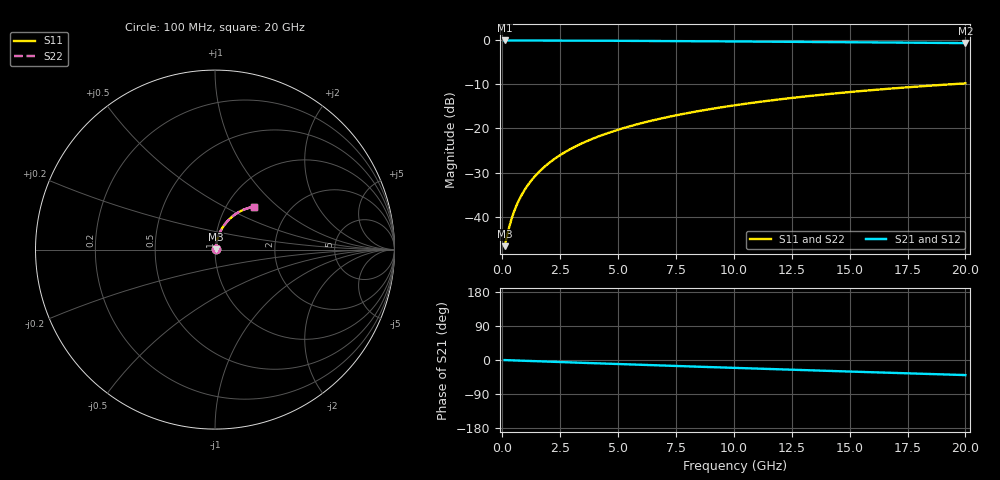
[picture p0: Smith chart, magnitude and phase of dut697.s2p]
! Touchstone file exported from HFSS 2026.1.0
!  File:  C:/ffzhzh/LocalFiles/Ansys_Project_Files/temp_train_TMRDL_697_1783010424_53980.aedt
!  Generated:  12:41:41 AM Jul  3, 2026
!  Design:  TMRDL
!  Project:  temp_train_TMRDL_697_1783010424_53980
! Variables:
!  h_bsmrdl = 2um
!  h_ox = 20um
!  h_rdl = 5um
!  h_sub = 80um
!  h_tmrdl = 5.43um
!  h_tsv = 80um
!  h_via = 3um
!  l_bsmrdl = 300um
!  l_sub = 1039.28um
!  l_tmrdl = 639.28um
!  m_sub = 200um
!  pitch = 25.46um
!  r_tsv = 6um
!  s_tmrdl = 10um
!  w_bsmrdl = 18um
!  w_sub = 500um
!  w_tmrdl = 10.26um
!  x_tsv_center1 = 644.41um
!  x_tsv_center2 = 962.41um
!  x_tsv_center3 = 1611.95um
!  x_tsv_center4 = 1929.95um
!  x_tsv_center5 = 2579.49um
!  x_tsv_center6 = 2897.49um
# GHz S MA R 50.000000
! Terminal data exported
! Port[1] = TM_RDL1_1_T1
! Port[2] = TM_RDL1_1_T2
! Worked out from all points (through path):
!   200 points, 100 MHz to 20 GHz, reference 50 ohm
!   highest |S21| = -0.04 dB at 100 MHz (marker M1); lowest = -0.6 dB at 20 GHz (marker M2)
!   group delay of S21, straight-line fit = 5.52 ps
!   lowest |S11| = -46.7 dB at 100 MHz (marker M3), VSWR 1.01, Z = 50.4 + j0.217 ohm
!   |S11| at or under -10 dB: start of sweep to 19.3 GHz
!   |S22| runs from -46.7 to -9.8 dB; largest |S21 - S12| = 2.6e-15
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0.1  0.004625 27.7  0.9959 -0.2  0.9959 -0.2  0.004625 27.7
! Gamma 0 0 0 0
! Port Impedance 50 0 50 0
0.3  0.007653 55.0  0.9957 -0.7  0.9957 -0.7  0.007653 55.0
0.4  0.009431 61.2  0.9955 -0.9  0.9955 -0.9  0.009431 61.2
0.5  0.01126 65.3  0.9954 -1.1  0.9954 -1.1  0.01126 65.3
0.6  0.01313 68.2  0.9953 -1.3  0.9953 -1.3  0.01313 68.2
0.7  0.01501 70.4  0.9953 -1.5  0.9953 -1.5  0.01501 70.4
0.9  0.01884 73.4  0.9951 -2.0  0.9951 -2.0  0.01884 73.4
1.2  0.02465 75.8  0.9948 -2.6  0.9948 -2.6  0.02465 75.8
1.4  0.02854 76.7  0.9945 -3.0  0.9945 -3.0  0.02854 76.7
1.7  0.03439 77.5  0.9941 -3.7  0.9941 -3.7  0.03439 77.5
2.2  0.0441 77.9  0.9934 -4.8  0.9934 -4.8  0.0441 77.9
2.8  0.05566 77.6  0.9923 -6.0  0.9923 -6.0  0.05566 77.6
3.5  0.06896 76.8  0.9908 -7.5  0.9908 -7.5  0.06896 76.8
4.2  0.08205 75.7  0.989 -9.0  0.989 -9.0  0.08205 75.7
5  0.09673 74.4  0.9869 -10.6  0.9869 -10.6  0.09673 74.4
5.9  0.1129 72.8  0.9843 -12.5  0.9843 -12.5  0.1129 72.8
6.8  0.1288 71.2  0.9816 -14.3  0.9816 -14.3  0.1288 71.2
8.3  0.1545 68.4  0.9766 -17.4  0.9766 -17.4  0.1545 68.4
10.1  0.1842 65.1  0.9703 -21.0  0.9703 -21.0  0.1842 65.1
13.4  0.2356 59.1  0.9576 -27.4  0.9576 -27.4  0.2356 59.1
16.7  0.2825 53.2  0.9438 -33.7  0.9438 -33.7  0.2825 53.2
20  0.3247 47.4  0.9295 -39.8  0.9295 -39.8  0.3247 47.4
